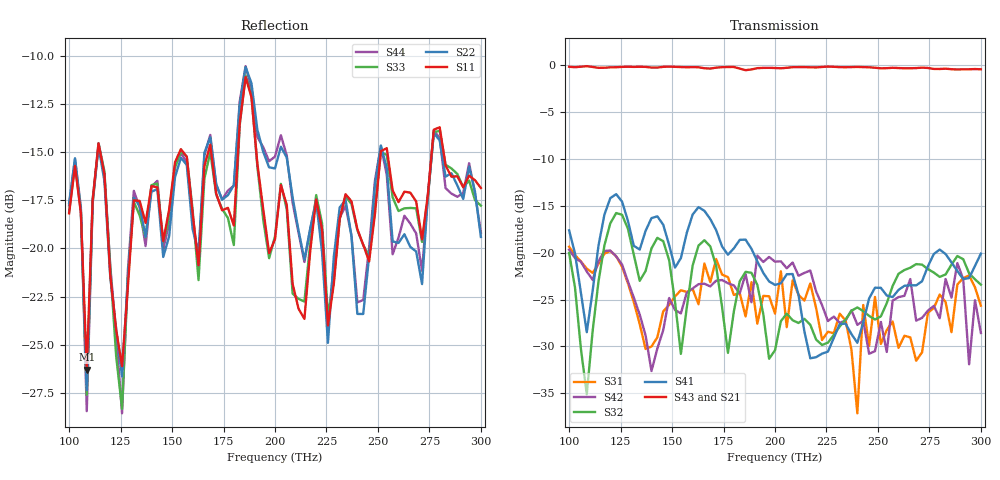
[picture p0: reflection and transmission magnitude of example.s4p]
!This S-parameter file was generated as part of the OIDT. This project was completed as part of research conducted with my major professor and advisor, Prof. Ata Zadehgol, at the Applied and Computational Electromagnetics Signal and Power Integrity (ACEM-SPI) Lab while working toward the Ph.D. in El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
!Created with skrf (http://scikit-rf.org).
# Hz S RI R 50.0
!freq ReS11 ImS11 ReS12 ImS12 ReS13 ImS13
! ReS14 ImS14
! ReS21 ImS21 ReS22 ImS22 ReS23 ImS23
! ReS24 ImS24
! ReS31 ImS31 ReS32 ImS32 ReS33 ImS33
! ReS34 ImS34
! ReS41 ImS41 ReS42 ImS42 ReS43 ImS43
! ReS44 ImS44
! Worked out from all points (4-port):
!   71 points, 100 THz to 300 THz, reference 50 ohm
!   strongest paths, dB at 100 THz, 148.6 THz, 200 THz, 251.4 THz, 300 THz:
!     S43: -0.2, -0.2, -0.3, -0.4, -0.5
!     S21: -0.2, -0.2, -0.3, -0.4, -0.5
!     S41: -17.6, -19.2, -23.4, -23.8, -20.1
!     S32: -20.0, -20.8, -30.4, -26.8, -23.4
!     S42: -19.7, -24.8, -21.0, -27.4, -28.6
!     S31: -19.4, -25.6, -26.5, -29.7, -25.7
!   lowest |S11| = -26.3 dB at 108.6 THz (marker M1), VSWR 1.10, Z = 50.7 - j4.84 ohm
!   |S11| at or under -10 dB: start of sweep to end of sweep
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1.000033e14  0.000812 0.1233  0.9781 0.00534  0.1074 0.00238  0.1313 -0.00205
             0.9781 0.00534  0.00189 -0.131  0.0996 -0.00324  0.1035 0.00289
             0.1074 0.00238  0.0996 -0.00324  0.000737 0.1242  0.9766 0.00531
             0.1313 -0.00205  0.1035 0.00289  0.9766 0.00531  0.00274 -0.1292
1.085751e14  0.00909 -0.0476  0.9787 0.00496  0.0819 0.0071  0.0376 0.00299
             0.9787 0.00496  0.00766 -0.0422  0.0128 -0.0121  0.0793 0.00289
             0.0819 0.0071  0.0128 -0.0121  0.0104 -0.0404  0.9837 0.00557
             0.0376 0.00299  0.0793 0.00289  0.9837 0.00557  0.0038 -0.0376
1.142895e14  0.00514 -0.1871  0.9568 0.00499  0.0865 0.00992  0.1085 0.0121
             0.9568 0.00499  0.00205 -0.1834  0.0702 0.00564  0.09 0.00344
             0.0865 0.00992  0.0702 0.00564  0.00457 -0.1874  0.9637 0.00509
             0.1085 0.0121  0.09 0.00344  0.9637 0.00509  0.00288 -0.1853
1.228612e14  0.011 -0.0604  0.9816 0.00461  0.0952 -0.00888  0.2047 0.00736
             0.9816 0.00461  0.00543 -0.0616  0.162 0.0118  0.0955 0.00153
             0.0952 -0.00888  0.162 0.0118  0.0122 -0.051  0.971 0.00315
             0.2047 0.00736  0.0955 0.00153  0.971 0.00315  0.00419 -0.0593
2.171501e14  0.016 -0.0975  0.9701 0.00935  0.0278 0.0626  0.0273 -0.00172
             0.9701 0.00935  0.00473 -0.1126  0.0412 0.000159  0.0245 -0.0765
             0.0278 0.0626  0.0412 0.000159  0.0167 -0.1021  0.9703 0.00913
             0.0273 -0.00172  0.0245 -0.0765  0.9703 0.00913  0.00406 -0.1125
2.40008e14  0.0127 -0.1114  0.9712 0.0102  0.00469 -0.0131  0.0329 -0.00317
            0.9712 0.0102  0.00482 -0.0674  0.051 0.00277  0.0203 0.0359
            0.00469 -0.0131  0.051 0.00277  0.0129 -0.1108  0.9744 0.00995
            0.0329 -0.00317  0.0203 0.0359  0.9744 0.00995  0.00912 -0.0718
3.0001e14  0.0244 -0.1413  0.9437 0.0119  0.0414 0.0317  0.0987 0.00308
           0.9437 0.0119  0.00692 -0.1068  0.0675 0.000968  0.0273 -0.0255
           0.0414 0.0317  0.0675 0.000968  0.0216 -0.1272  0.9467 0.0122
           0.0987 0.00308  0.0273 -0.0255  0.9467 0.0122  0.00597 -0.1096
